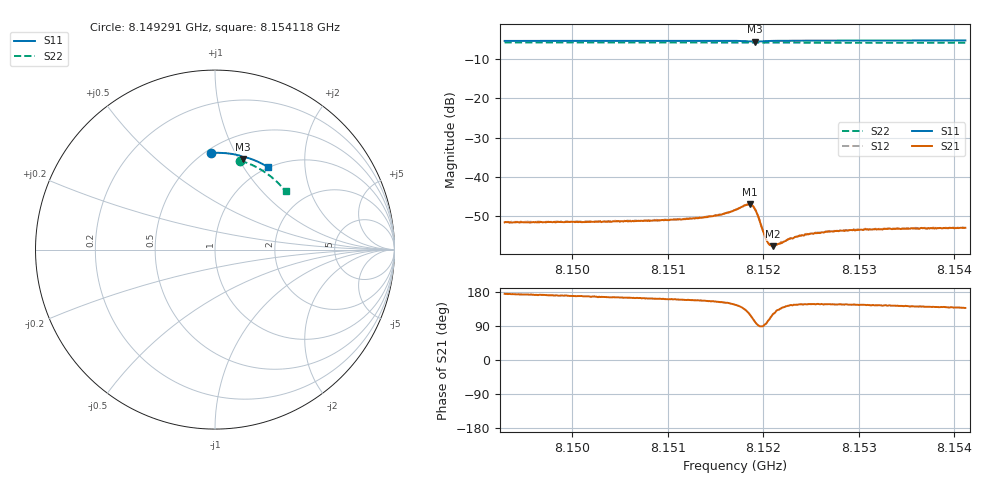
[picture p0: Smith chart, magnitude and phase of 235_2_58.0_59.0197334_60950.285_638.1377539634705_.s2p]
#  HZ  S  RI  R  50.00
! Rohde & Schwarz Vector Network Analyzer
! Rohde-Schwarz,ZNB20-2Port,1311601062101988,3.16
! Created: UTC 3/21/2024, 1:00:49 AM
! freq[Hz]  re:S11  im:S11  re:S21  im:S21  re:S12  im:S12  re:S22  im:S22
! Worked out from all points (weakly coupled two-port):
!   401 points, 8.149291 GHz to 8.154118 GHz, reference 50 ohm
!   highest |S21| = -47.02 dB at 8.151861 GHz (marker M1); lowest = -57.7 dB at 8.152103 GHz (marker M2)
!   lowest |S11| = -5.5 dB at 8.151909 GHz (marker M3), VSWR 3.24, Z = 37.3 + j52.2 ohm
!   |S11| at or under -10 dB: nowhere
!   |S22| runs from -5.9 to -5.7 dB; largest |S21 - S12| = 0.00011
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8.1492906e9  -0.0197 0.5384  -0.00262 0.000245  -0.00263 0.0003  0.1417 0.496
8.1500992e9  0.037 0.5389  -0.00259 0.000509  -0.00261 0.000617  0.191 0.4781
8.1509077e9  0.0934 0.5333  -0.00264 0.000874  -0.00264 0.000944  0.238 0.4555
8.1513905e9  0.1276 0.5265  -0.0028 0.00123  -0.00281 0.00129  0.2648 0.4398
8.1515474e9  0.1392 0.5232  -0.00293 0.00152  -0.00292 0.00154  0.2735 0.4341
8.1517043e9  0.1513 0.5184  -0.00312 0.00212  -0.00311 0.00215  0.2819 0.4285
8.1518129e9  0.1585 0.5111  -0.00293 0.0032  -0.0029 0.00327  0.2875 0.4243
8.1518611e9  0.159 0.5064  -0.0022 0.00388  -0.00212 0.00393  0.2899 0.4224
8.1518853e9  0.1577 0.5047  -0.00153 0.00403  -0.00148 0.00408  0.291 0.4216
8.1519094e9  0.1559 0.5043  -0.000844 0.00385  -0.000788 0.0039  0.2922 0.4208
8.1519456e9  0.1542 0.5064  -0.000118 0.00317  -4.33e-05 0.0032  0.2938 0.4195
8.152006e9  0.1565 0.5111  -3.84e-05 0.0019  1.79e-05 0.00188  0.297 0.4174
8.1520301e9  0.1587 0.5123  -0.000162 0.00158  -0.000155 0.00159  0.2982 0.4167
8.1520663e9  0.1621 0.5133  -0.000423 0.0013  -0.000418 0.0013  0.3002 0.4153
8.1521025e9  0.1654 0.5136  -0.000682 0.00111  -0.000658 0.00117  0.3022 0.4139
8.1521508e9  0.1696 0.5135  -0.000922 0.00103  -0.000887 0.00107  0.3047 0.412
8.1522715e9  0.1793 0.5117  -0.0013 0.000965  -0.00128 0.000992  0.3107 0.4072
8.1523559e9  0.1856 0.51  -0.00143 0.000975  -0.00145 0.000975  0.3151 0.404
8.1525128e9  0.1967 0.5063  -0.00161 0.00102  -0.00161 0.00104  0.3228 0.3973
8.1528508e9  0.2192 0.498  -0.0017 0.00114  -0.00173 0.0012  0.339 0.3831
8.1533214e9  0.2494 0.4844  -0.00178 0.00128  -0.00174 0.00134  0.3604 0.3621
8.1541179e9  0.2978 0.4578  -0.00165 0.00152  -0.00164 0.00151  0.3935 0.324
